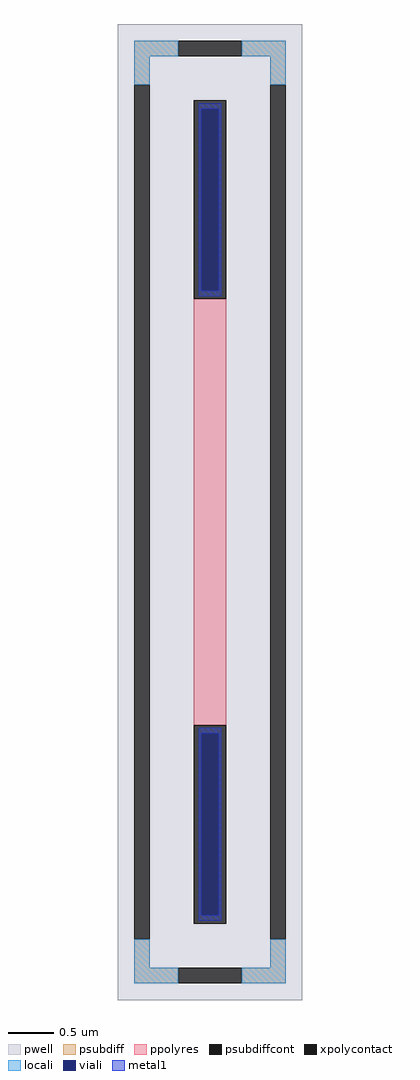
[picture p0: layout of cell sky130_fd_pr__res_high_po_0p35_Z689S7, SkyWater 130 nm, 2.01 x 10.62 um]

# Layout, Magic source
magic
tech sky130A
magscale 1 2
<< pwell >>
rect -201 -1062 201 1062
<< psubdiff >>
rect -165 992 -69 1026
rect 69 992 165 1026
rect -165 930 -131 992
rect 131 930 165 992
rect -165 -992 -131 -930
rect 131 -992 165 -930
rect -165 -1026 -69 -992
rect 69 -1026 165 -992
<< psubdiffcont >>
rect -69 992 69 1026
rect -165 -930 -131 930
rect 131 -930 165 930
rect -69 -1026 69 -992
<< xpolycontact >>
rect -35 464 35 896
rect -35 -896 35 -464
<< ppolyres >>
rect -35 -464 35 464
<< locali >>
rect -165 992 -69 1026
rect 69 992 165 1026
rect -165 930 -131 992
rect 131 930 165 992
rect -165 -992 -131 -930
rect 131 -992 165 -930
rect -165 -1026 -69 -992
rect 69 -1026 165 -992
<< viali >>
rect -19 481 19 878
rect -19 -878 19 -481
<< metal1 >>
rect -25 878 25 890
rect -25 481 -19 878
rect 19 481 25 878
rect -25 469 25 481
rect -25 -481 25 -469
rect -25 -878 -19 -481
rect 19 -878 25 -481
rect -25 -890 25 -878
<< properties >>
string FIXED_BBOX -148 -1009 148 1009
string gencell sky130_fd_pr__res_high_po_0p35
string library sky130
string parameters w 0.350 l 4.8 m 1 nx 1 wmin 0.350 lmin 0.50 rho 319.8 val 5.499k dummy 0 dw 0.0 term 194.82 sterm 0.0 caplen 0 guard 1 glc 1 grc 1 gtc 1 gbc 1 compatible {sky130_fd_pr__res_high_po_0p35  sky130_fd_pr__res_high_po_0p69 sky130_fd_pr__res_high_po_1p41  sky130_fd_pr__res_high_po_2p85 sky130_fd_pr__res_high_po_5p73} snake 0 full_metal 1 wmax 0.350 vias 1 n_guard 0 hv_guard 0 viagb 0 viagt 0 viagl 0 viagr 0
<< end >>
